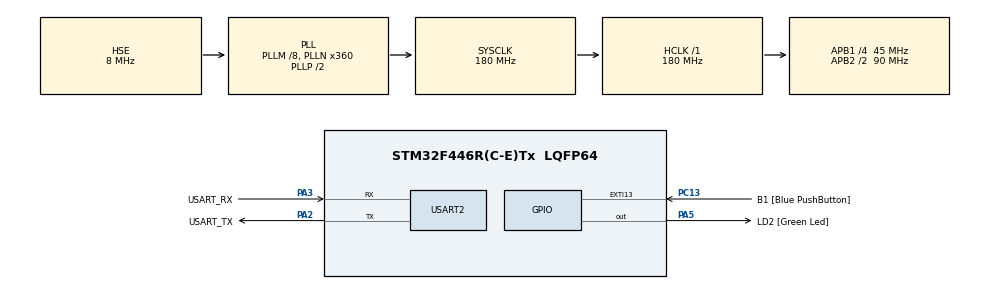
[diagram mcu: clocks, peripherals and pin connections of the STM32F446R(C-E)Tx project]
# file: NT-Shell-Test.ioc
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Mcu.Family=STM32F4
Mcu.Name=STM32F446R(C-E)Tx
Mcu.Package=LQFP64
NVIC.PriorityGroup=NVIC_PRIORITYGROUP_0
PA13.GPIO_Label=TMS
PA13.Mode=Serial_Wire
PA13.Signal=SYS_JTMS-SWDIO
PA14.GPIO_Label=TCK
PA14.Mode=Serial_Wire
PA14.Signal=SYS_JTCK-SWCLK
PA2.GPIO_Label=USART_TX
PA2.Mode=Asynchronous
PA2.Signal=USART2_TX
PA3.GPIO_Label=USART_RX
PA3.Mode=Asynchronous
PA3.Signal=USART2_RX
PA5.GPIO_Label=LD2 [Green Led]
PA5.Signal=GPIO_Output
PB3.GPIO_Label=SWO
PB3.Signal=SYS_JTDO-SWO
PC13.GPIO_Label=B1 [Blue PushButton]
PC13.GPIO_ModeDefaultEXTI=GPIO_MODE_IT_FALLING
PC13.Signal=GPXTI13
PC14-OSC32_IN.Mode=LSE-External-Oscillator
PC14-OSC32_IN.Signal=RCC_OSC32_IN
PC15-OSC32_OUT.Mode=LSE-External-Oscillator
PC15-OSC32_OUT.Signal=RCC_OSC32_OUT
PH0-OSC_IN.Mode=HSE-External-Oscillator
PH0-OSC_IN.Signal=RCC_OSC_IN
PH1-OSC_OUT.Mode=HSE-External-Oscillator
PH1-OSC_OUT.Signal=RCC_OSC_OUT
ProjectManager.HeapSize=0x200
ProjectManager.StackSize=0x400
ProjectManager.TargetToolchain=STM32CubeIDE
RCC.48MHZClocksFreq_Value=84000000
RCC.AHBFreq_Value=180000000
RCC.APB1CLKDivider=RCC_HCLK_DIV4
RCC.APB1Freq_Value=45000000
RCC.APB1TimFreq_Value=90000000
RCC.APB2CLKDivider=RCC_HCLK_DIV2
RCC.APB2Freq_Value=90000000
RCC.APB2TimFreq_Value=180000000
RCC.CortexFreq_Value=180000000
RCC.FLatency-AdvancedSettings=FLASH_LATENCY_5
RCC.HCLKFreq_Value=180000000
RCC.HSE_VALUE=8000000
RCC.HSI_VALUE=16000000
RCC.PLLM=8
RCC.PLLN=360
RCC.PLLSourceVirtual=RCC_PLLSOURCE_HSE
RCC.SYSCLKFreq_VALUE=180000000
RCC.SYSCLKSource=RCC_SYSCLKSOURCE_PLLCLK
RCC.USBFreq_Value=180000000
RCC.VCOOutputFreq_Value=360000000
USART2.VirtualMode=VM_ASYNC
board=NUCLEO-F446RE

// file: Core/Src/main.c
/* USER CODE BEGIN Header */
/**
  ******************************************************************************
  * @file           : main.c
  * @brief          : Main program body
  ******************************************************************************
  * @attention
  *
  * <h2><center>&copy; Copyright (c) 2021 STMicroelectronics.
  * All rights reserved.</center></h2>
  *
  * This software component is licensed by ST under BSD 3-Clause license,
  * the "License"; You may not use this file except in compliance with the
  * License. You may obtain a copy of the License at:
  *                        opensource.org/licenses/BSD-3-Clause
  *
  ******************************************************************************
  */
/* USER CODE END Header */
#include "main.h"

/* USER CODE BEGIN Includes */

#include <stdio.h>
#include <stdarg.h>
#include <math.h>

#include "ntshell.h"
#include "usrcmd.h"

/* USER CODE END Includes */

/* USER CODE BEGIN PD */

#define uart_puts(str) puts(str)

/* USER CODE END PD */

UART_HandleTypeDef huart2;

/* USER CODE BEGIN PV */

ntshell_t nts;

/* USER CODE END PV */

void SystemClock_Config(void);
static void MX_GPIO_Init(void);
static void MX_USART2_UART_Init(void);

/* USER CODE BEGIN 0 */

#ifdef __GNUC__
#define PUTCHAR_PROTOTYPE int __io_putchar(int ch)
#else
#define PUTCHAR_PROTOTYPE int fputc(int ch, FILE *f)
#endif /* __GNUC__ */
void __io_putchar(uint8_t ch)
{
	HAL_UART_Transmit(&huart2, &ch, 1, 1);
}

/* USER CODE END 0 */

int main(void)
{

  /* MCU Configuration--------------------------------------------------------*/

  /* Reset of all peripherals, Initializes the Flash interface and the Systick. */
  HAL_Init();

  /* Configure the system clock */
  SystemClock_Config();

  /* Initialize all configured peripherals */
  MX_GPIO_Init();
  MX_USART2_UART_Init();
  /* USER CODE BEGIN 2 */

  ntshell_usr_init(&nts);

  //printf("Hello NT-Sell Test.\n");
  //HAL_UART_Transmit(&huart2, "ABCDE", 5, 10);

  /* USER CODE END 2 */

  /* Infinite loop */
  /* USER CODE BEGIN WHILE */
  while (1)
  {

	  ntshell_execute(&nts);

	  //HAL_Delay(200);
	  HAL_GPIO_TogglePin(LD2_GPIO_Port, LD2_Pin);

    /* USER CODE END WHILE */

  }
}

void SystemClock_Config(void)
{
  RCC_OscInitTypeDef RCC_OscInitStruct = {0};
  RCC_ClkInitTypeDef RCC_ClkInitStruct = {0};

  /** Configure the main internal regulator output voltage
  */
  __HAL_RCC_PWR_CLK_ENABLE();
  __HAL_PWR_VOLTAGESCALING_CONFIG(PWR_REGULATOR_VOLTAGE_SCALE1);
  /** Initializes the RCC Oscillators according to the specified parameters
  * in the RCC_OscInitTypeDef structure.
  */
  RCC_OscInitStruct.OscillatorType = RCC_OSCILLATORTYPE_HSE;
  RCC_OscInitStruct.HSEState = RCC_HSE_ON;
  RCC_OscInitStruct.PLL.PLLState = RCC_PLL_ON;
  RCC_OscInitStruct.PLL.PLLSource = RCC_PLLSOURCE_HSE;
  RCC_OscInitStruct.PLL.PLLM = 8;
  RCC_OscInitStruct.PLL.PLLN = 360;
  RCC_OscInitStruct.PLL.PLLP = RCC_PLLP_DIV2;
  RCC_OscInitStruct.PLL.PLLQ = 2;
  RCC_OscInitStruct.PLL.PLLR = 2;
  if (HAL_RCC_OscConfig(&RCC_OscInitStruct) != HAL_OK)
  {
    Error_Handler();
  }
  /** Activate the Over-Drive mode
  */
  if (HAL_PWREx_EnableOverDrive() != HAL_OK)
  {
    Error_Handler();
  }
  /** Initializes the CPU, AHB and APB buses clocks
  */
  RCC_ClkInitStruct.ClockType = RCC_CLOCKTYPE_HCLK|RCC_CLOCKTYPE_SYSCLK
                              |RCC_CLOCKTYPE_PCLK1|RCC_CLOCKTYPE_PCLK2;
  RCC_ClkInitStruct.SYSCLKSource = RCC_SYSCLKSOURCE_PLLCLK;
  RCC_ClkInitStruct.AHBCLKDivider = RCC_SYSCLK_DIV1;
  RCC_ClkInitStruct.APB1CLKDivider = RCC_HCLK_DIV4;
  RCC_ClkInitStruct.APB2CLKDivider = RCC_HCLK_DIV2;

  if (HAL_RCC_ClockConfig(&RCC_ClkInitStruct, FLASH_LATENCY_5) != HAL_OK)
  {
    Error_Handler();
  }
}

static void MX_USART2_UART_Init(void)
{

  huart2.Instance = USART2;
  huart2.Init.BaudRate = 115200;
  huart2.Init.WordLength = UART_WORDLENGTH_8B;
  huart2.Init.StopBits = UART_STOPBITS_1;
  huart2.Init.Parity = UART_PARITY_NONE;
  huart2.Init.Mode = UART_MODE_TX_RX;
  huart2.Init.HwFlowCtl = UART_HWCONTROL_NONE;
  huart2.Init.OverSampling = UART_OVERSAMPLING_16;
  if (HAL_UART_Init(&huart2) != HAL_OK)
  {
    Error_Handler();
  }

}

static void MX_GPIO_Init(void)
{
  GPIO_InitTypeDef GPIO_InitStruct = {0};

  /* GPIO Ports Clock Enable */
  __HAL_RCC_GPIOC_CLK_ENABLE();
  __HAL_RCC_GPIOH_CLK_ENABLE();
  __HAL_RCC_GPIOA_CLK_ENABLE();
  __HAL_RCC_GPIOB_CLK_ENABLE();

  /*Configure GPIO pin Output Level */
  HAL_GPIO_WritePin(LD2_GPIO_Port, LD2_Pin, GPIO_PIN_RESET);

  /*Configure GPIO pin : B1_Pin */
  GPIO_InitStruct.Pin = B1_Pin;
  GPIO_InitStruct.Mode = GPIO_MODE_IT_FALLING;
  GPIO_InitStruct.Pull = GPIO_NOPULL;
  HAL_GPIO_Init(B1_GPIO_Port, &GPIO_InitStruct);

  /*Configure GPIO pin : LD2_Pin */
  GPIO_InitStruct.Pin = LD2_Pin;
  GPIO_InitStruct.Mode = GPIO_MODE_OUTPUT_PP;
  GPIO_InitStruct.Pull = GPIO_NOPULL;
  GPIO_InitStruct.Speed = GPIO_SPEED_FREQ_LOW;
  HAL_GPIO_Init(LD2_GPIO_Port, &GPIO_InitStruct);

}

void Error_Handler(void)
{
  __disable_irq();
  while (1)
  {
  }
}

/************************ (C) COPYRIGHT STMicroelectronics *****END OF FILE****/
